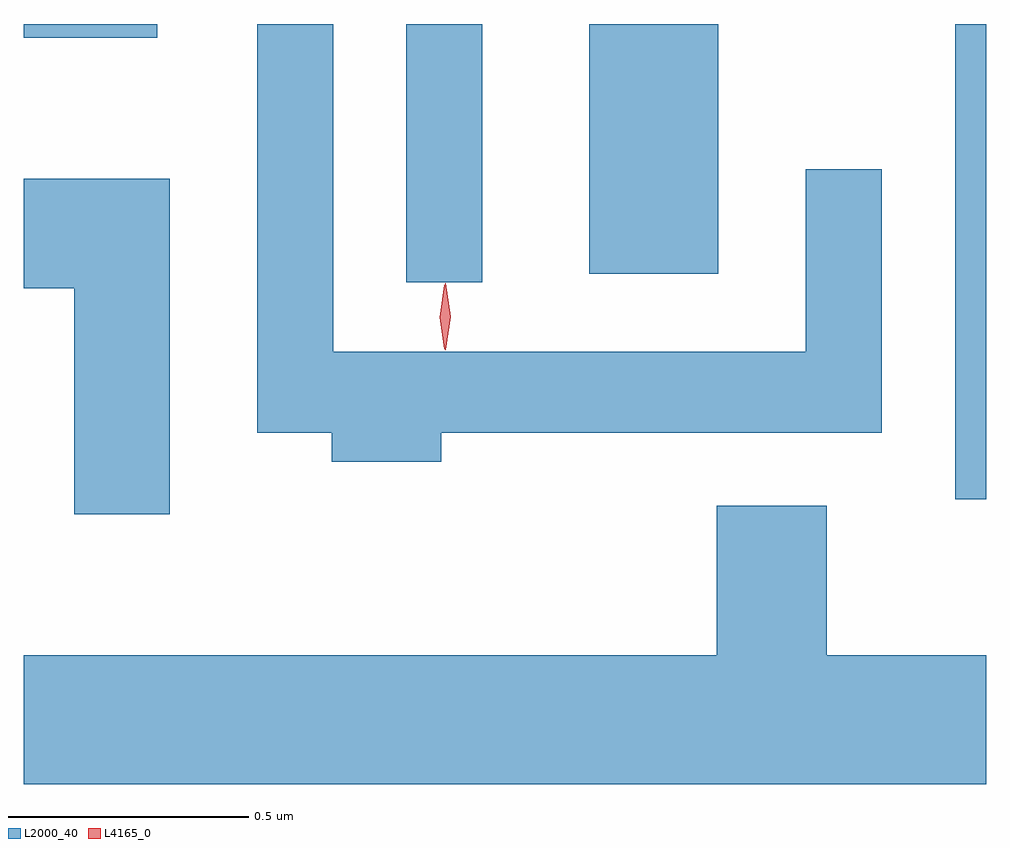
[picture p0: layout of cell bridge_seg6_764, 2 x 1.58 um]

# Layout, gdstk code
import gdstk
lib = gdstk.Library(unit=1e-6, precision=1e-09)
def R(c, l, rs):  # rectangles x0, y0, x1, y1
    for r in rs: c.add(gdstk.rectangle(r[:2], r[2:], *l))
def P(c, l, *ps):  # polygons
    for p in ps: c.add(gdstk.Polygon(p, *l))
L2000_40 = (2000, 40)
L4165_0 = (4165, 0)

bridge_seg6_764 = lib.new_cell('bridge_seg6_764')
R(bridge_seg6_764, L2000_40, [(514.606,1539.528,514.671,1540.515), (513.466,1539.978,513.624,1540.515), (513.846,1539.996,514.114,1540.515), (512.671,1540.486,512.949,1540.515)])
P(bridge_seg6_764, L2000_40, [(513.539,1539.666),(514.454,1539.666),(514.454,1540.213),(514.296,1540.213),(514.296,1539.834),(513.314,1539.834),(513.314,1540.515),(513.156,1540.515),(513.156,1539.666),(513.311,1539.666),(513.311,1539.606),(513.539,1539.606)],
  [(512.974,1540.194),(512.671,1540.194),(512.671,1539.966),(512.776,1539.966),(512.776,1539.496),(512.974,1539.496)],
  [(514.671,1539.204),(514.339,1539.204),(514.339,1539.514),(514.111,1539.514),(514.111,1539.204),(512.671,1539.204),(512.671,1538.936),(514.671,1538.936)])
P(bridge_seg6_764, L4165_0, [(513.546,1539.839),(513.545,1539.84),(513.535,1539.906),(513.545,1539.972),(513.545,1539.973),(513.546,1539.972),(513.555,1539.906),(513.546,1539.84)],
  [(513.548,1539.837),(513.547,1539.838),(513.538,1539.907),(513.547,1539.976),(513.548,1539.976),(513.548,1539.976),(513.558,1539.907),(513.548,1539.838)])

lib.write_gds('bridge_seg6_764.gds')
